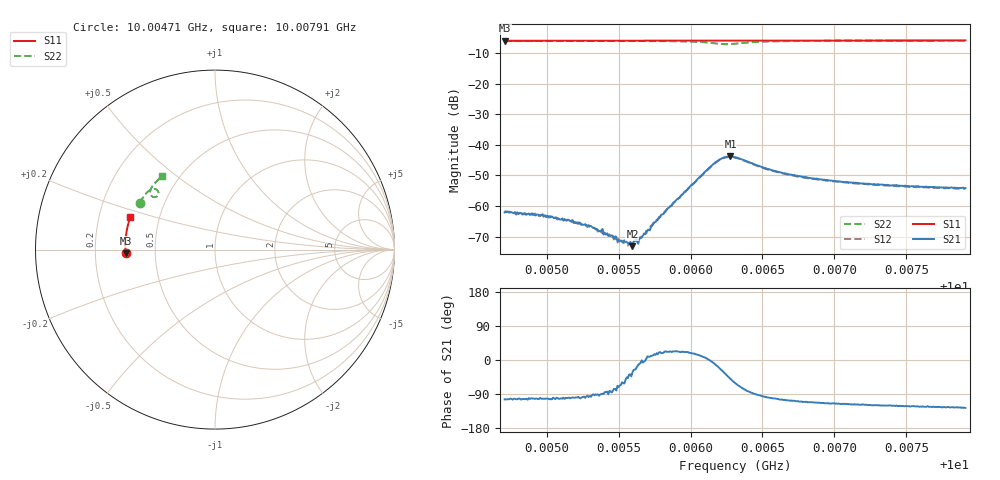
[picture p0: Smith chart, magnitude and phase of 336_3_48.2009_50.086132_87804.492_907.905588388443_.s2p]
#  HZ  S  RI  R  50.00
! Rohde & Schwarz Vector Network Analyzer
! Rohde-Schwarz,ZNB20-2Port,1311601062101988,3.16
! Created: UTC 3/20/2024, 11:51:06 AM
! freq[Hz]  re:S11  im:S11  re:S21  im:S21  re:S12  im:S12  re:S22  im:S22
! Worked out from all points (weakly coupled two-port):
!   401 points, 10.00471 GHz to 10.00791 GHz, reference 50 ohm
!   highest |S21| = -43.82 dB at 10.00628 GHz (marker M1); lowest = -73.1 dB at 10.0056 GHz (marker M2)
!   lowest |S11| = -6.0 dB at 10.00471 GHz (marker M3), VSWR 2.99, Z = 16.7 - j0.945 ohm
!   |S11| at or under -10 dB: nowhere
!   |S22| runs from -7.2 to -6.0 dB; largest |S21 - S12| = 0.00036
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1.0004707e10  -0.4985 -0.0212  -0.000187 -0.000762  -0.000149 -0.000819  -0.419 0.2604
1.0004955e10  -0.4995 -0.00499  -0.000124 -0.000689  -0.000105 -0.000674  -0.4105 0.2752
1.0005163e10  -0.4999 0.00856  -0.000107 -0.000551  -9.32e-05 -0.000578  -0.4026 0.2875
1.0005243e10  -0.5 0.0138  -7.3e-05 -0.000496  -7.23e-05 -0.000488  -0.3995 0.2925
1.0005307e10  -0.4999 0.018  -5.7e-05 -0.000469  -3.61e-05 -0.000436  -0.3967 0.2963
1.000542e10  -0.4998 0.0253  4.16e-05 -0.000354  5.68e-05 -0.000348  -0.3919 0.3031
1.0005468e10  -0.4998 0.0282  7.16e-05 -0.000288  9.65e-05 -0.000267  -0.3895 0.3059
1.00055e10  -0.4998 0.0303  8.81e-05 -0.000258  8.86e-05 -0.000274  -0.388 0.3081
1.0005572e10  -0.4995 0.0351  0.000188 -0.000151  0.000187 -0.000152  -0.3844 0.3125
1.000558e10  -0.4994 0.0355  0.000205 -0.000158  0.000213 -0.000122  -0.3838 0.3129
1.0005596e10  -0.4994 0.0366  0.000186 -0.000118  0.000219 -0.000138  -0.383 0.3137
1.0005644e10  -0.4993 0.0397  0.000301 -5.26e-05  0.000287 -2.87e-05  -0.3802 0.3169
1.000578e10  -0.4988 0.0487  0.00059 0.000214  0.000619 0.00024  -0.3714 0.3255
1.0006149e10  -0.4961 0.0723  0.00459 -0.000381  0.00451 -0.000201  -0.32 0.3291
1.0006221e10  -0.4956 0.0767  0.0053 -0.00289  0.00533 -0.00261  -0.3159 0.3071
1.0006277e10  -0.4953 0.0799  0.00416 -0.00492  0.00429 -0.00461  -0.3293 0.2935
1.0006309e10  -0.495 0.0819  0.00309 -0.00549  0.00329 -0.00521  -0.3394 0.2922
1.0006573e10  -0.4929 0.0989  -0.000756 -0.00373  -0.000543 -0.00369  -0.3602 0.33
1.0006846e10  -0.4897 0.1164  -0.00103 -0.00261  -0.000917 -0.00261  -0.3485 0.3536
1.0007062e10  -0.4869 0.1299  -0.00106 -0.00223  -0.000957 -0.00225  -0.3379 0.3671
1.0007383e10  -0.4817 0.1499  -0.00109 -0.0019  -0.000989 -0.0019  -0.3221 0.3841
1.0007911e10  -0.4714 0.1823  -0.00117 -0.00158  -0.00104 -0.00159  -0.2952 0.408
